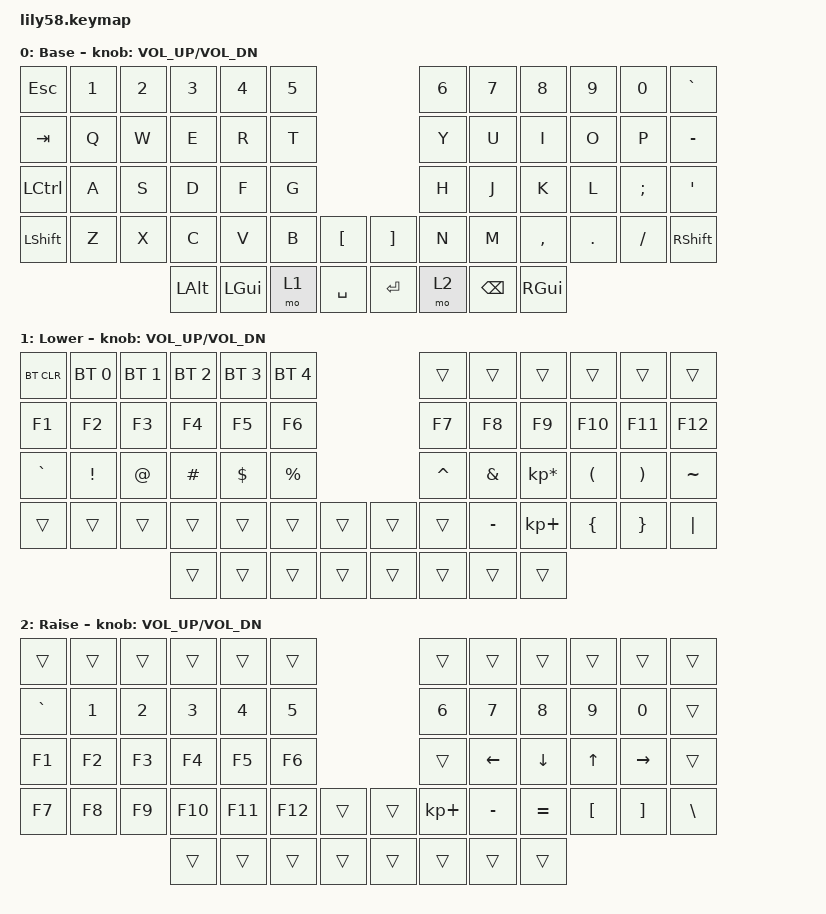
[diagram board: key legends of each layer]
/*
 * Copyright (c) 2020 The ZMK Contributors
 *
 * SPDX-License-Identifier: MIT
 */

#include <behaviors.dtsi>
#include <dt-bindings/zmk/keys.h>
#include <dt-bindings/zmk/bt.h>
#include <dt-bindings/zmk/ext_power.h>

/ {
    keymap {
        compatible = "zmk,keymap";

        default_layer {
// ------------------------------------------------------------------------------------------------------------
// |  ESC  |  1  |  2  |  3   |  4   |  5   |                   |  6   |  7    |  8    |  9   |   0   |   `   |
// |  TAB  |  Q  |  W  |  E   |  R   |  T   |                   |  Y   |  U    |  I    |  O   |   P   |   -   |
// |  CTRL |  A  |  S  |  D   |  F   |  G   |                   |  H   |  J    |  K    |  L   |   ;   |   '   |
// | SHIFT |  Z  |  X  |  C   |  V   |  B   |   "["  |  |  "]"  |  N   |  M    |  ,    |  .   |   /   | SHIFT |
//                     | ALT  | GUI  | LOWER|  SPACE |  | ENTER | RAISE| BSPC  | GUI   |
            display-name = "Base";
            bindings = <
&kp ESC   &kp N1 &kp N2 &kp N3   &kp N4   &kp N5                     &kp N6 &kp N7   &kp N8    &kp N9  &kp N0   &kp GRAVE
&kp TAB   &kp Q  &kp W  &kp E    &kp R    &kp T                      &kp Y  &kp U    &kp I     &kp O   &kp P    &kp MINUS
&kp LCTRL &kp A  &kp S  &kp D    &kp F    &kp G                      &kp H  &kp J    &kp K     &kp L   &kp SEMI &kp SQT
&kp LSHFT &kp Z  &kp X  &kp C    &kp V    &kp B  &kp LBKT   &kp RBKT &kp N  &kp M    &kp COMMA &kp DOT &kp FSLH &kp RSHFT
                        &kp LALT &kp LGUI &mo 1  &kp SPACE  &kp RET  &mo 2  &kp BSPC &kp RGUI
            >;

            sensor-bindings = <&inc_dec_kp C_VOL_UP C_VOL_DN>;
        };

        lower_layer {
// ------------------------------------------------------------------------------------------------------------
// | BTCLR | BT1 | BT2 |  BT3 |  BT4 |  BT5 |                   |      |       |       |      |       |       |
// |  F1   |  F2 |  F3 |  F4  |  F5  |  F6  |                   |  F7  |  F8   |  F9   |  F10 |  F11  |  F12  |
// |   `   |  !  |  @  |  #   |  $   |  %   |                   |  ^   |  &    |  *    |  (   |   )   |   ~   |
// |       |     |     |      |      |      |        |  |       |      |  _    |  +    |  {   |   }   |  "|"  |
//                     |      |      |      |        |  |       |      |       |       |
            display-name = "Lower";
            bindings = <
&bt BT_CLR &bt BT_SEL 0     &bt BT_SEL 1      &bt BT_SEL 2      &bt BT_SEL 3 &bt BT_SEL 4                 &trans    &trans    &trans          &trans    &trans    &trans
&kp F1     &kp F2           &kp F3            &kp F4            &kp F5       &kp F6                       &kp F7    &kp F8    &kp F9          &kp F10   &kp F11   &kp F12
&kp GRAVE  &kp EXCL         &kp AT            &kp HASH          &kp DOLLAR   &kp PRCNT                    &kp CARET &kp AMPS  &kp KP_MULTIPLY &kp LPAR  &kp RPAR  &kp TILDE
&trans     &trans           &trans            &trans            &trans       &trans    &trans   &trans    &trans    &kp MINUS &kp KP_PLUS     &kp LBRC  &kp RBRC  &kp PIPE
                                              &trans            &trans       &trans    &trans   &trans    &trans    &trans    &trans
            >;

            sensor-bindings = <&inc_dec_kp C_VOL_UP C_VOL_DN>;
        };

        raise_layer {
// ------------------------------------------------------------------------------------------------------------
// |       |     |     |      |      |      |                   |      |       |       |      |       |       |
// |   `   |  1  |  2  |  3   |  4   |  5   |                   |  6   |   7   |   8   |  9   |   0   |       |
// |   F1  |  F2 |  F3 |  F4  |  F5  |  F6  |                   |      |   <-  |   v   |  ^   |  ->   |       |
// |   F7  |  F8 |  F9 |  F10 |  F11 |  F12 |        |  |       |  +   |   -   |   =   |  [   |   ]   |   \   |
//                     |      |      |      |        |  |       |      |       |       |
            display-name = "Raise";
            bindings = <
&trans    &trans &trans &trans  &trans  &trans                       &trans      &trans    &trans    &trans   &trans    &trans
&kp GRAVE &kp N1 &kp N2 &kp N3  &kp N4  &kp N5                       &kp N6      &kp N7    &kp N8    &kp N9   &kp N0    &trans
&kp F1    &kp F2 &kp F3 &kp F4  &kp F5  &kp F6                       &trans      &kp LEFT  &kp DOWN  &kp UP   &kp RIGHT &trans
&kp F7    &kp F8 &kp F9 &kp F10 &kp F11 &kp F12   &trans   &trans    &kp KP_PLUS &kp MINUS &kp EQUAL &kp LBKT &kp RBKT  &kp BSLH
                        &trans  &trans  &trans    &trans   &trans    &trans      &trans    &trans
            >;

            sensor-bindings = <&inc_dec_kp C_VOL_UP C_VOL_DN>;
        };

        extra_1 {
            status = "reserved";
        };

        extra_2 {
            status = "reserved";
        };

        extra_3 {
            status = "reserved";
        };
    };
};



/ {
    combos {
        compatible = "zmk,combos";
        combo_equals {
            timeout-ms = <50>;
            key-positions = <18 19>;
            bindings = <&kp EQUAL>;
        };
        combo_dash {
            timeout-ms = <50>;
            key-positions = <30 31>;
            bindings = <&kp MINUS>;
        };
        combo_under {
            timeout-ms = <50>;
            key-positions = <44 45>;
            bindings = <&kp UNDER>;
        };
        combo_sum {
            timeout-ms = <50>;
            key-positions = <30 31 32>;
            bindings = <&kp PLUS>;
        };
        combo_multi {
            timeout-ms = <50>;
            key-positions = <44 45 46>;
            bindings = <&kp STAR>;
        };
        combo_left_square_bra {
            timeout-ms = <50>;
            key-positions = <55 19>;
            bindings = <&kp LEFT_BRACKET>;
        };
        combo_right_square_bra {
            timeout-ms = <50>;
            key-positions = <55 20>;
            bindings = <&kp RIGHT_BRACKET>;
        };
        combo_left_paren {
            timeout-ms = <50>;
            key-positions = <55 31>;
            bindings = <&kp LEFT_PARENTHESIS>;
        };
        combo_right_paren {
            timeout-ms = <50>;
            key-positions = <55 32>;
            bindings = <&kp RIGHT_PARENTHESIS>;
        };
        combo_left_brace {
            timeout-ms = <50>;
            key-positions = <55 45>;
            bindings = <&kp LEFT_BRACE>;
        };
        combo_right_brace {
            timeout-ms = <50>;
            key-positions = <55 46>;
            bindings = <&kp RIGHT_BRACE>;
        };
    };
};
